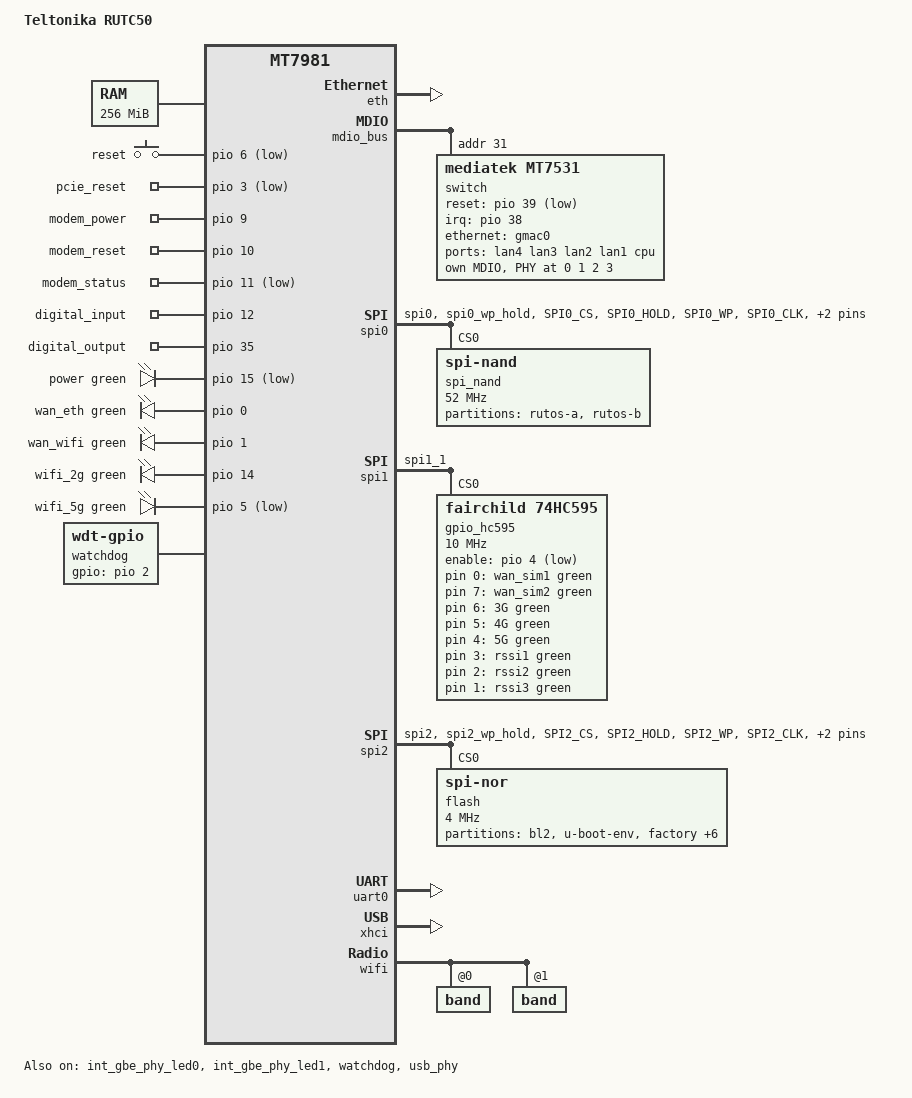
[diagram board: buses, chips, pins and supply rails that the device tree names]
// SPDX-License-Identifier: GPL-2.0-or-later OR MIT

/dts-v1/;
#include <dt-bindings/leds/common.h>
#include <dt-bindings/gpio/gpio.h>
#include <dt-bindings/input/input.h>

#include "mt7981b.dtsi"

/ {
	model = "Teltonika RUTC50";
	compatible = "teltonika,rutc50", "mediatek,mt7981";

	aliases {
		serial0 = &uart0;
		label-mac-device = &gmac0;
		led-boot = &power;
		led-failsafe = &power;
		led-running = &power;
		led-upgrade = &power;
	};

	chosen {
		stdout-path = "serial0:115200n8";
	};

	memory@40000000 {
		reg = <0 0x40000000 0 0x10000000>;
		device_type = "memory";
	};

	gpio-keys {
		compatible = "gpio-keys";

		reset {
			label = "reset";
			linux,code = <KEY_RESTART>;
			gpios = <&pio 6 GPIO_ACTIVE_LOW>;
			debounce-interval = <60>;
		};
	};

	gpio-export {
		compatible = "gpio-export";

		gpio_pcie_reset {
			gpio-export,name = "pcie_reset";
			gpio-export,output = <1>;
			gpios = <&pio 3 GPIO_ACTIVE_LOW>;
		};

		gpio_modem_power {
			gpio-export,name = "modem_power";
			gpio-export,output = <0>;
			gpios = <&pio 9 GPIO_ACTIVE_HIGH>;
		};

		gpio_modem_reset {
			gpio-export,name = "modem_reset";
			gpio-export,output = <0>;
			gpios = <&pio 10 GPIO_ACTIVE_HIGH>;
		};

		gpio_modem_status {
			gpio-export,name = "modem_status";
			gpio-export,input = <0>;
			gpios = <&pio 11 GPIO_ACTIVE_LOW>;
		};

		gpio_digital_input {
			gpio-export,name = "digital_input";
			gpio-export,input = <0>;
			gpios = <&pio 12 GPIO_ACTIVE_HIGH>;
		};

		gpio_digital_output {
			gpio-export,name = "digital_output";
			gpio-export,output = <0>;
			gpios = <&pio 35 GPIO_ACTIVE_HIGH>;
		};
	};

	leds {
		compatible = "gpio-leds";

		power: power {
			function = LED_FUNCTION_POWER;
			color = <LED_COLOR_ID_GREEN>;
			gpios = <&pio 15 GPIO_ACTIVE_LOW>;
		};

		wan_eth {
			function = "wan-eth";
			color = <LED_COLOR_ID_GREEN>;
			gpios = <&pio 0 GPIO_ACTIVE_HIGH>;
		};

		wan_wifi {
			function = "wan-wifi";
			color = <LED_COLOR_ID_GREEN>;
			gpios = <&pio 1 GPIO_ACTIVE_HIGH>;
		};

		wan_sim1 {
			function = "wan-sim1";
			color = <LED_COLOR_ID_GREEN>;
			gpios = <&gpio_hc595 0 GPIO_ACTIVE_HIGH>;
		};

		wan_sim2 {
			function = "wan-sim2";
			color = <LED_COLOR_ID_GREEN>;
			gpios = <&gpio_hc595 7 GPIO_ACTIVE_HIGH>;
		};

		wifi_2g {
			function = LED_FUNCTION_WLAN_2GHZ;
			color = <LED_COLOR_ID_GREEN>;
			gpios = <&pio 14 GPIO_ACTIVE_HIGH>;
			linux,default-trigger = "phy0tpt";
		};

		wifi_5g {
			function = LED_FUNCTION_WLAN_5GHZ;
			color = <LED_COLOR_ID_GREEN>;
			gpios = <&pio 5 GPIO_ACTIVE_LOW>;
			linux,default-trigger = "phy1tpt";
		};

		3G {
			function = "3G";
			color = <LED_COLOR_ID_GREEN>;
			gpios = <&gpio_hc595 6 GPIO_ACTIVE_HIGH>;
		};

		4G {
			function = "4G";
			color = <LED_COLOR_ID_GREEN>;
			gpios = <&gpio_hc595 5 GPIO_ACTIVE_HIGH>;
		};

		5G {
			function = "5G";
			color = <LED_COLOR_ID_GREEN>;
			gpios = <&gpio_hc595 4 GPIO_ACTIVE_HIGH>;
		};

		rssi1 {
			function = "rssi-1";
			color = <LED_COLOR_ID_GREEN>;
			gpios = <&gpio_hc595 3 GPIO_ACTIVE_HIGH>;
		};

		rssi2 {
			function = "rssi-2";
			color = <LED_COLOR_ID_GREEN>;
			gpios = <&gpio_hc595 2 GPIO_ACTIVE_HIGH>;
		};

		rssi3 {
			function = "rssi-3";
			color = <LED_COLOR_ID_GREEN>;
			gpios = <&gpio_hc595 1 GPIO_ACTIVE_HIGH>;
		};
	};

	watchdog {
		compatible = "linux,wdt-gpio";
		gpios = <&pio 2 GPIO_ACTIVE_HIGH>;
		hw_algo = "toggle";
		hw_margin_ms = <1000>;
	};
};

&eth {
	pinctrl-names = "default";
	pinctrl-0 = <&gbe_led0_pins>, <&gbe_led1_pins>;
	status = "okay";

	gmac0: mac@0 {
		compatible = "mediatek,eth-mac";
		reg = <0>;
		phy-mode = "2500base-x";
		nvmem-cells = <&macaddr_config_0 0>;
		nvmem-cell-names = "mac-address";

		fixed-link {
			speed = <2500>;
			full-duplex;
			pause;
		};
	};

	gmac1: mac@1 {
		compatible = "mediatek,eth-mac";
		reg = <1>;
		label = "wan";
		phy-mode = "gmii";
		phy-handle = <&int_gbe_phy>;
		nvmem-cells = <&macaddr_config_0 1>;
		nvmem-cell-names = "mac-address";
	};
};

&int_gbe_phy_led0{
	function = LED_FUNCTION_WAN;
	color = <LED_COLOR_ID_AMBER>;
	status = "okay";
};

&int_gbe_phy_led1{
	function = LED_FUNCTION_WAN;
	color = <LED_COLOR_ID_GREEN>;
	status = "okay";
};

&mdio_bus {
	switch: switch@1f {
		compatible = "mediatek,mt7531";
		reg = <31>;
		reset-gpios = <&pio 39 GPIO_ACTIVE_LOW>;
		interrupt-controller;
		#interrupt-cells = <1>;
		interrupt-parent = <&pio>;
		interrupts = <38 IRQ_TYPE_LEVEL_HIGH>;

		ports {
			#address-cells = <1>;
			#size-cells = <0>;

			port@0 {
				reg = <0>;
				phy-handle = <&swphy0>;
				label = "lan4";
			};

			port@1 {
				reg = <1>;
				phy-handle = <&swphy1>;
				label = "lan3";
			};

			port@2 {
				reg = <2>;
				phy-handle = <&swphy2>;
				label = "lan2";
			};

			port@3 {
				reg = <3>;
				phy-handle = <&swphy3>;
				label = "lan1";
			};

			port@6 {
				reg = <6>;
				label = "cpu";
				ethernet = <&gmac0>;
				phy-mode = "2500base-x";

				fixed-link {
					speed = <2500>;
					full-duplex;
					pause;
				};
			};
		};

		mdio {
			#address-cells = <1>;
			#size-cells = <0>;

			swphy0: phy@0 {
				reg = <0>;

				mediatek,led-config = <
					0x21 0x8009 /* BASIC_CTRL */
					0x22 0x0c00 /* ON_DURATION */
					0x23 0x1400 /* BLINK_DURATION */
					0x24 0xc001 /* LED0_ON_CTRL */
					0x25 0x0003 /* LED0_BLINK_CTRL */
					0x26 0xc006 /* LED1_ON_CTRL */
					0x27 0x003c /* LED1_BLINK_CTRL */
				>;
			};

			swphy1: phy@1 {
				reg = <1>;
			};

			swphy2: phy@2 {
				reg = <2>;
			};

			swphy3: phy@3 {
				reg = <3>;
			};
		};
	};
};

&spi0 {
	pinctrl-names = "default";
	pinctrl-0 = <&spi0_flash_pins>;
	status = "okay";

	spi_nand@0 {
		#address-cells = <1>;
		#size-cells = <1>;
		compatible = "spi-nand";
		reg = <0>;

		spi-max-frequency = <52000000>;
		spi-tx-buswidth = <4>;
		spi-rx-buswidth = <4>;

		mediatek,nmbm;
		mediatek,bmt-max-ratio = <1>;
		mediatek,bmt-max-reserved-blocks = <64>;

		partitions {
			compatible = "fixed-partitions";
			#address-cells = <1>;
			#size-cells = <1>;

			partition@0 {
				label = "rutos-a";
				reg = <0x00000000 0x10000000>;
			};

			partition@10000000 {
				label = "rutos-b";
				reg = <0x10000000 0x10000000>;
			};
		};
	};
};

&spi1 {
	pinctrl-names = "default";
	pinctrl-0 = <&spic_pins>;
	status = "okay";

	gpio_hc595: gpio_hc595@0 {
		compatible = "fairchild,74hc595";
		reg = <0>;
		gpio-controller;
		#gpio-cells = <2>;
		registers-number = <1>;
		spi-max-frequency = <10000000>;
		enable-gpios = <&pio 4 GPIO_ACTIVE_LOW>;
	};
};

&spi2 {
	pinctrl-names = "default";
	pinctrl-0 = <&spi2_flash_pins>;
	status = "okay";

	flash@0 {
		#address-cells = <1>;
		#size-cells = <1>;
		compatible = "jedec,spi-nor";
		reg = <0>;

		spi-max-frequency = <4000000>;
		spi-tx-buswidth = <4>;
		spi-rx-buswidth = <4>;

		partitions {
			compatible = "fixed-partitions";
			#address-cells = <1>;
			#size-cells = <1>;

			partition@00000 {
				label = "bl2";
				reg = <0x00000 0x0040000>;
				read-only;
			};

			partition@40000 {
				label = "u-boot-env";
				reg = <0x40000 0x0010000>;
			};

			factory: partition@50000 {
				label = "factory";
				reg = <0x50000 0x00A0000>;
				read-only;

				nvmem-layout {
					compatible = "fixed-layout";
					#address-cells = <1>;
					#size-cells = <1>;

					eeprom_factory_0: eeprom@0 {
						reg = <0x0 0x1000>;
					};
				};
			};

			config: partition@f0000	{
				compatible = "nvmem-cells";
				#address-cells = <1>;
				#size-cells = <1>;

				label = "config";
				reg = <0xF0000 0x0010000>;
				read-only;

				nvmem-layout {
					compatible = "fixed-layout";
					#address-cells = <1>;
					#size-cells = <1>;

					macaddr_config_0: macaddr@0 {
						compatible = "mac-base";
						reg = <0x0 0x6>;
						#nvmem-cell-cells = <1>;
					};
				};
			};

			boot: partition@100000 {
				label = "fip";
				reg = <0x100000 0x0100000>;
				read-only;
			};

			partition@200000 {
				label = "bootconfig-a";
				reg = <0x200000 0x010000>;
			};

			partition@210000 {
				label = "bootconfig-b";
				reg = <0x210000 0x010000>;
			};

			partition@220000 {
				label = "event-log";
				reg = <0x220000 0x090000>;
			};

			partition@2B0000 {
				label = "recovery";
				reg = <0x2B0000 0xD50000>;
			};
		};
	};
};

&pio {
	spi0_flash_pins: spi0-pins {
		mux {
			function = "spi";
			groups = "spi0", "spi0_wp_hold";
		};

		conf-pu {
			pins = "SPI0_CS", "SPI0_HOLD", "SPI0_WP";
			drive-strength = <MTK_DRIVE_4mA>;
			bias-pull-up = <MTK_PUPD_SET_R1R0_11>;
		};

		conf-pd {
			pins = "SPI0_CLK", "SPI0_MOSI", "SPI0_MISO";
			drive-strength = <MTK_DRIVE_4mA>;
			bias-pull-down = <MTK_PUPD_SET_R1R0_11>;
		};
	};

	spic_pins: spi1-pins {
		mux {
			function = "spi";
			groups = "spi1_1";
		};
	};

	spi2_flash_pins: spi2-pins {
		mux {
			function = "spi";
			groups = "spi2", "spi2_wp_hold";
		};

		conf-pu {
			pins = "SPI2_CS", "SPI2_HOLD", "SPI2_WP";
			drive-strength = <MTK_DRIVE_8mA>;
			bias-pull-up = <MTK_PUPD_SET_R1R0_11>;
		};

		conf-pd {
			pins = "SPI2_CLK", "SPI2_MOSI", "SPI2_MISO";
			drive-strength = <MTK_DRIVE_8mA>;
			bias-pull-down = <MTK_PUPD_SET_R1R0_11>;
		};
	};
};

&uart0 {
	status = "okay";
};

&watchdog {
	status = "okay";
};

&usb_phy {
	status = "okay";
};

&xhci {
	status = "okay";
};

&wifi {
	#address-cells = <1>;
	#size-cells = <0>;

	status = "okay";
	nvmem-cells = <&eeprom_factory_0>;
	nvmem-cell-names = "eeprom";

	band@0 {
		reg = <0>;
		nvmem-cells = <&macaddr_config_0 2>;
		nvmem-cell-names = "mac-address";
	};

	band@1 {
		reg = <1>;
		nvmem-cells = <&macaddr_config_0 3>;
		nvmem-cell-names = "mac-address";
	};
};
